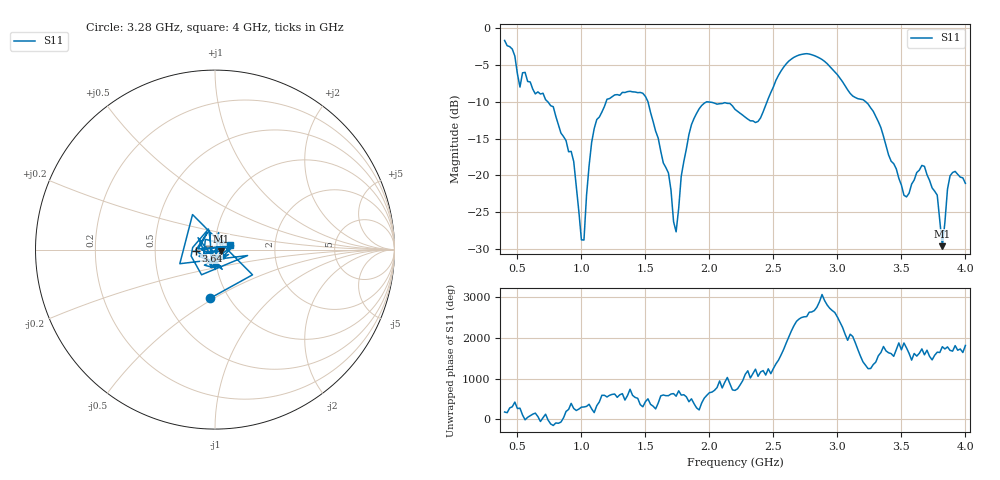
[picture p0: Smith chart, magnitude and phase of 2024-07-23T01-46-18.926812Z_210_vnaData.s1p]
!Created with skrf (http://scikit-rf.org).
# Hz S RI R 50.0
!freq ReS11 ImS11
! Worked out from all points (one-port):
!   181 points, 400 MHz to 4 GHz, reference 50 ohm
!   lowest |S11| = -29.6 dB at 3.82 GHz (marker M1), VSWR 1.07, Z = 53.3 - j0.958 ohm
!   |S11| at or under -10 dB: 738.4 MHz to 1.193 GHz (454.2 MHz wide, 47 % of centre); 1.991 GHz to 2.45 GHz (459.1 MHz wide, 20.7 % of centre); 3.222 GHz to end of sweep (the widest 3 of 4)
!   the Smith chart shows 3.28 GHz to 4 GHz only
!   S11 on the Smith chart (normalised r, x): 3.28 GHz: 0.82, -0.48; 3.64 GHz: 0.80, -0.01; 4 GHz: 1.18, +0.06
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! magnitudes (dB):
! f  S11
! 400 MHz  -1.6
! 520 MHz  -8.0
! 560 MHz  -6.0
! 860 MHz  -14.7
! 940 MHz  -18.1
! 1 GHz  -28.8
! 1.02 GHz  -28.8
! 1.06 GHz  -18.7
! 1.1 GHz  -13.6
! 1.3 GHz  -9.1
! 1.5 GHz  -9.2
! 1.68 GHz  -19.7
! 1.74 GHz  -27.7
! 1.76 GHz  -24.5
! 1.84 GHz  -14.4
! 1.92 GHz  -10.9
! 2.2 GHz  -11.0
! 2.38 GHz  -12.7
! 2.66 GHz  -3.9
! 2.88 GHz  -4.2
! 3.1 GHz  -8.8
! 3.28 GHz  -11.3
! 3.56 GHz  -22.4
! 3.64 GHz  -19.3
! 3.78 GHz  -22.7
! 3.82 GHz  -29.6
! 3.88 GHz  -20.1
! 4 GHz  -21.1
